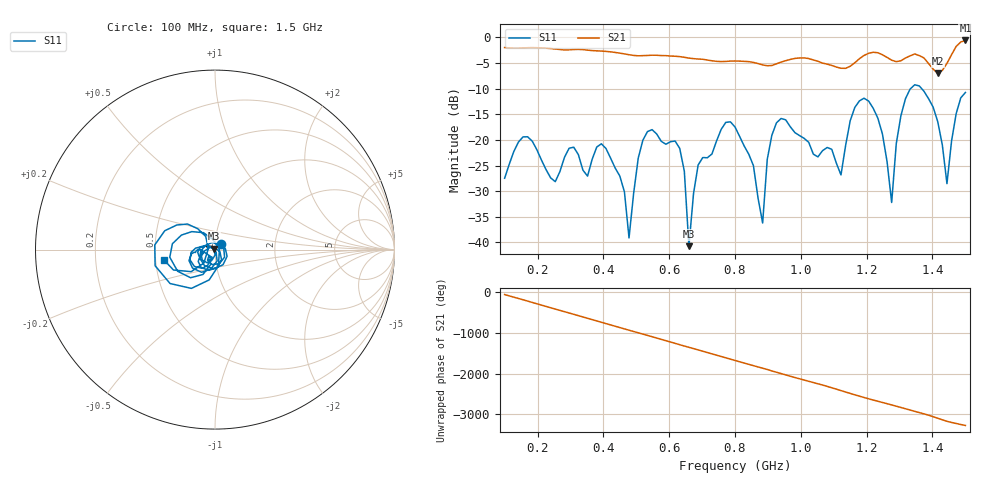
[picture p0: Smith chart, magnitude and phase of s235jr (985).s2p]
! NanoVNA-App
! Date: 2025-09-25 15:11:50
! Start: 100MHz Stop: 1,5GHz Points: 101
! S-Parameter data: F S11 S21 S12 S22
# Hz S RI R 50
!  Frequency  S11_Real  S11_Imag  S21_Real  S21_Imag  S12_Real  S12_Imag  S22_Real  S22_Imag
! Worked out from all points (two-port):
!   101 points, 100 MHz to 1.5 GHz, reference 50 ohm
!   highest |S21| = -0.58 dB at 1.5 GHz (marker M1); lowest = -7.0 dB at 1.416 GHz (marker M2)
!   |S21| within 3 dB of the highest: start of sweep to 596.9 MHz; 1.19 GHz to 1.254 GHz (63.28 MHz wide, 5.18 % of centre) (the widest 2 of 4)
!   lowest |S11| = -40.7 dB at 660 MHz (marker M3), VSWR 1.02, Z = 49.3 + j0.581 ohm
!   |S11| at or under -10 dB: start of sweep to 1.333 GHz; 1.367 GHz to end of sweep
!   S12 and S22 are empty: the file has one direction only
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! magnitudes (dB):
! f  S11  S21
! 100 MHz  -27.5  -2.0
! 156 MHz  -19.4  -2.0
! 338 MHz  -25.9  -2.4
! 408 MHz  -21.7  -2.7
! 478 MHz  -39.1  -3.4
! 520 MHz  -20.1  -3.5
! 576 MHz  -20.3  -3.5
! 632 MHz  -21.6  -3.7
! 660 MHz  -40.7  -4.0
! 688 MHz  -24.9  -4.2
! 800 MHz  -17.5  -4.6
! 884 MHz  -36.2  -5.4
! 926 MHz  -16.7  -5.1
! 1.038 GHz  -22.8  -4.4
! 1.122 GHz  -26.8  -6.0
! 1.192 GHz  -11.9  -3.5
! 1.248 GHz  -18.8  -3.4
! 1.276 GHz  -32.2  -4.4
! 1.332 GHz  -10.1  -3.6
! 1.416 GHz  -16.4  -7.0
! 1.444 GHz  -28.5  -5.0
! 1.5 GHz  -10.7  -0.6
